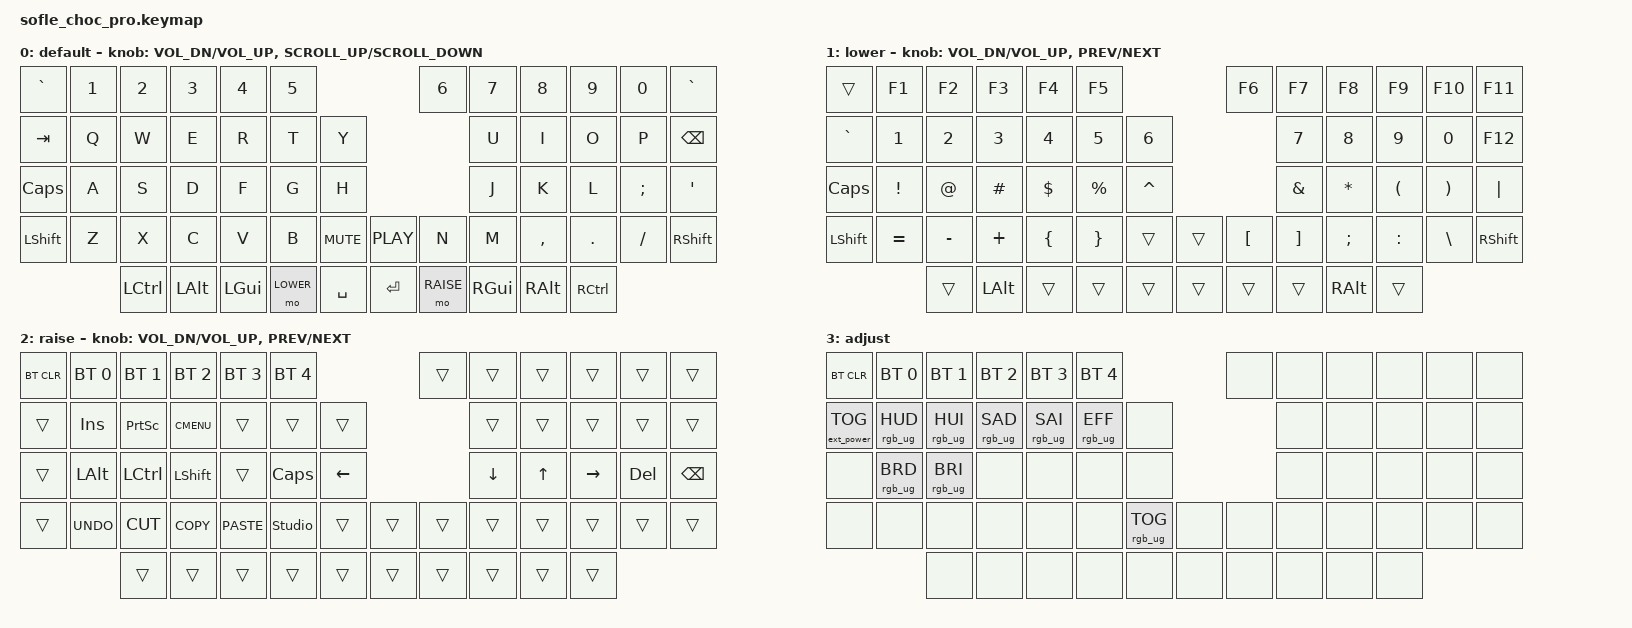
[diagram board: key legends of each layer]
/*
* Copyright (c) 2020 The ZMK Contributors
*
* SPDX-License-Identifier: MIT
*/

#include <behaviors.dtsi>
#include <dt-bindings/zmk/bt.h>
#include <dt-bindings/zmk/ext_power.h>
#include <dt-bindings/zmk/keys.h>
#include <dt-bindings/zmk/rgb.h>

#define BASE 0
#define LOWER 1
#define RAISE 2
#define ADJUST 3

/ {
    // Activate ADJUST layer by pressing raise and lower

    conditional_layers {
        compatible = "zmk,conditional-layers";

        adjust_layer {
            if-layers = <LOWER RAISE>;
            then-layer = <ADJUST>;
        };
    };

    behaviors {
        hm: hold_tap_mod {
            compatible = "zmk,behavior-hold-tap";
            label = "HOLD_TAP_MOD";
            bindings = <&kp>, <&kp>;

            #binding-cells = <2>;
            tapping-term-ms = <200>;
            quick-tap-ms = <175>;
            require-prior-idle-ms = <150>;
            flavor = "balanced";
        };
    };

    keymap {
        compatible = "zmk,keymap";

        default_layer {
            display-name = "default";

            // ------------------------------------------------------------------------------------------------------------
            // |   `   |  1  |  2  |  3   |  4   |  5   |                   |  6   |  7    |  8    |  9   |   0   |   `   |
            // |  ESC  |  Q  |  W  |  E   |  R   |  T   |                   |  Y   |  U    |  I    |  O   |   P   | BKSPC |
            // |  TAB  |  A  |  S  |  D   |  F   |  G   |                   |  H   |  J    |  K    |  L   |   ;   |   '   |
            // | SHIFT |  Z  |  X  |  C   |  V   |  B   |  MUTE  |  | PLAY  |  N   |  M    |  ,    |  .   |   /   | SHIFT |
            //               | GUI | ALT  | CTRL | LOWER|  ENTER |  | SPACE | RAISE| CTRL  | ALT   | GUI  |

            bindings = <
&kp GRAVE     &kp N1  &kp N2     &kp N3    &kp N4    &kp N5                             &kp N6     &kp N7    &kp N8     &kp N9     &kp N0    &kp GRAVE
&kp TAB       &kp Q   &kp W      &kp E     &kp R     &kp T      &kp Y                              &kp U     &kp I      &kp O      &kp P     &kp BSPC
&kp CAPSLOCK  &kp A   &kp S      &kp D     &kp F     &kp G      &kp H                              &kp J     &kp K      &kp L      &kp SEMI  &kp SQT
&kp LSHFT     &kp Z   &kp X      &kp C     &kp V     &kp B      &kp C_MUTE  &kp C_PLAY  &kp N      &kp M     &kp COMMA  &kp DOT    &kp FSLH  &kp RSHFT
                      &kp LCTRL  &kp LALT  &kp LGUI  &mo LOWER  &kp SPACE   &kp ENTER   &mo RAISE  &kp RGUI  &kp RALT   &kp RCTRL
            >;

            sensor-bindings =
                <&inc_dec_kp C_VOL_DN C_VOL_UP>,
                <&inc_dec_kp K_SCROLL_UP K_SCROLL_DOWN>;
        };

        lower_layer {
            display-name = "lower";

            // ------------------------------------------------------------------------------------------------------------
            // |       |  F1 |  F2 |  F3  |  F4  |  F5  |                   |  F6  |  F7   |  F8   |  F9  |  F10  |  F11  |
            // |   `   |  1  |  2  |  3   |  4   |  5   |                   |  6   |  7    |  8    |  9   |   0   |  F12  |
            // |       |  !  |  @  |  #   |  $   |  %   |                   |  ^   |  &    |  *    |  (   |   )   |   |   |
            // |       |  =  |  -  |  +   |  {   |  }   |        |  |       |  [   |  ]    |  ;    |  :   |   \   |       |
            //               |     |      |      |      |        |  |       |      |       |       |      |

            bindings = <
&trans        &kp F1     &kp F2     &kp F3    &kp F4    &kp F5                        &kp F6    &kp F7    &kp F8     &kp F9     &kp F10   &kp F11
&kp GRAVE     &kp N1     &kp N2     &kp N3    &kp N4    &kp N5     &kp N6                       &kp N7    &kp N8     &kp N9     &kp N0    &kp F12
&kp CAPSLOCK  &kp EXCL   &kp AT     &kp HASH  &kp DLLR  &kp PRCNT  &kp CARET                    &kp AMPS  &kp ASTRK  &kp LPAR   &kp RPAR  &kp PIPE
&kp LSHIFT    &kp EQUAL  &kp MINUS  &kp PLUS  &kp LBRC  &kp RBRC   &trans     &trans  &kp LBKT  &kp RBKT  &kp SEMI   &kp COLON  &kp BSLH  &kp RSHFT
                         &trans     &kp LALT  &trans    &trans     &trans     &trans  &trans    &trans    &kp RALT   &trans
            >;

            sensor-bindings = <&inc_dec_kp C_VOL_DN C_VOL_UP &inc_dec_kp C_PREV C_NEXT>;
        };

        raise_layer {
            display-name = "raise";

            // ------------------------------------------------------------------------------------------------------------
            // | BTCLR | BT1  | BT2  |  BT3  |  BT4  |  BT5 |                |      |      |       |      |       |       |
            // |       | INS  | PSCR | GUI   |       |      |                | PGUP |      |   ^   |      |       |       |
            // |       | ALT  | CTRL | SHIFT |       | CAPS |                | PGDN |   <- |   v   |  ->  |  DEL  | BKSPC |
            // |       | UNDO | CUT  | COPY  | PASTE | STUD |      |  |      |      |      |       |      |       |       |
            //                |      |       |       |      |      |  |      |      |      |       |      |

            bindings = <
&bt BT_CLR  &bt BT_SEL 0  &bt BT_SEL 1  &bt BT_SEL 2  &bt BT_SEL 3  &bt BT_SEL 4                      &trans  &trans    &trans  &trans     &trans   &trans
&trans      &kp INS       &kp PSCRN     &kp K_CMENU   &trans        &trans          &trans                    &trans    &trans  &trans     &trans   &trans
&trans      &kp LALT      &kp LCTRL     &kp LSHFT     &trans        &kp CLCK        &kp LEFT                  &kp DOWN  &kp UP  &kp RIGHT  &kp DEL  &kp BSPC
&trans      &kp K_UNDO    &kp K_CUT     &kp K_COPY    &kp K_PASTE   &studio_unlock  &trans    &trans  &trans  &trans    &trans  &trans     &trans   &trans
                          &trans        &trans        &trans        &trans          &trans    &trans  &trans  &trans    &trans  &trans
            >;

            sensor-bindings = <&inc_dec_kp C_VOL_DN C_VOL_UP &inc_dec_kp C_PREV C_NEXT>;
        };

        adjust_layer {
            // ----------------------------------------------------------------------------------------------------------------------------
            // | BTCLR  |  BT1    |  BT2    |   BT3   |   BT4   |   BT5   |                  |      |      |       |      |       |       |
            // | EXTPWR | RGB_HUD | RGB_HUI | RGB_SAD | RGB_SAI | RGB_EFF |                  |      |      |       |      |       |       |
            // |        | RGB_BRD | RGB_BRI |         |         |         |                  |      |      |       |      |       |       |
            // |        |         |         |         |         |         | RGB_TOG | |      |      |      |       |      |       |       |
            //                    |         |         |         |         |         | |      |      |      |       |      |

            display-name = "adjust";
            bindings = <
&bt BT_CLR         &bt BT_SEL 0     &bt BT_SEL 1     &bt BT_SEL 2     &bt BT_SEL 3     &bt BT_SEL 4                             &none  &none  &none  &none  &none  &none
&ext_power EP_TOG  &rgb_ug RGB_HUD  &rgb_ug RGB_HUI  &rgb_ug RGB_SAD  &rgb_ug RGB_SAI  &rgb_ug RGB_EFF  &none                          &none  &none  &none  &none  &none
&none              &rgb_ug RGB_BRD  &rgb_ug RGB_BRI  &none            &none            &none            &none                          &none  &none  &none  &none  &none
&none              &none            &none            &none            &none            &none            &rgb_ug RGB_TOG  &none  &none  &none  &none  &none  &none  &none
                                    &none            &none            &none            &none            &none            &none  &none  &none  &none  &none
            >;
        };
    };
};
